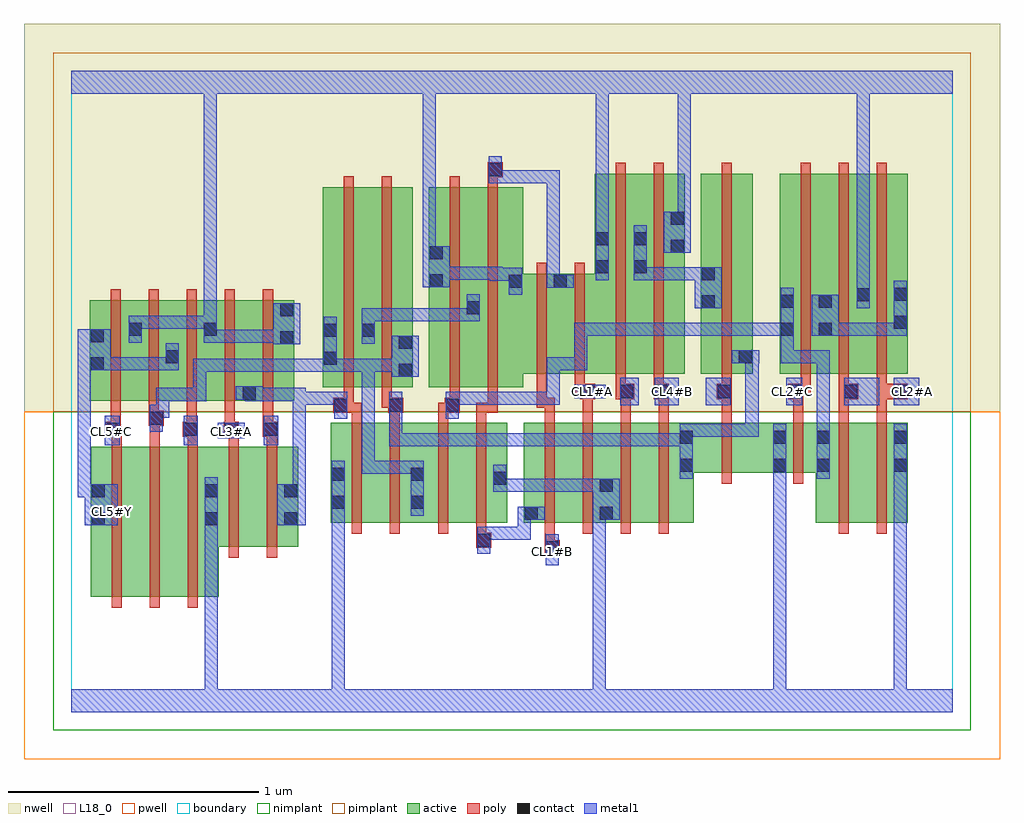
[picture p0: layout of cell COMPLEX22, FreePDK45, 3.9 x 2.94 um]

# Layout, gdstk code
import gdstk
lib = gdstk.Library(unit=1e-6, precision=1e-09)
def R(c, l, rs):  # rectangles x0, y0, x1, y1
    for r in rs: c.add(gdstk.rectangle(r[:2], r[2:], *l))
def A(c, l, x, y, w, h, nx, ny, dx, dy):  # array of equal rectangles
    R(c, l, [(x+i*dx, y+j*dy, x+i*dx+w, y+j*dy+h) for i in range(nx) for j in range(ny)])
active = (1, 0)
pwell = (2, 0)
nwell = (3, 0)
nimplant = (4, 0)
pimplant = (5, 0)
poly = (9, 0)
contact = (10, 0)
metal1 = (11, 0)
L18_0 = (18, 0)
boundary = (235, 0)

complex22 = lib.new_cell('COMPLEX22')
A(complex22, active, 2.828, 1.35, 0.06, 0.694, 3, 1, 0.152, 0)
R(complex22, active, [(0.078,0.46,0.258,1.06), (0.258,0.46,0.41,1.06), (0.41,0.46,0.59,1.06), (0.078,0.556,0.138,1.06), (0.53,0.66,0.726,1.06), (0.726,0.66,0.906,1.06), (0.53,0.742,0.59,1.06), (0.846,0.742,0.906,1.06), (1.036,0.756,1.096,1.156), (1.036,0.756,1.216,1.156), (1.216,0.756,1.412,1.156), (1.352,0.756,1.412,1.156), (1.352,0.756,1.562,1.156), (1.562,0.756,1.742,1.156), (1.682,0.756,1.742,1.156), (1.806,0.756,1.866,1.156), (1.806,0.756,1.986,1.156), (1.986,0.756,2.166,1.156), (2.106,0.756,2.166,1.156), (2.106,0.756,2.29,1.156), (2.29,0.756,2.486,1.156), (2.972,0.756,3.16,1.156), (3.16,0.756,3.34,1.156), (3.28,0.756,3.34,1.156), (2.426,0.956,2.486,1.128), (2.426,0.956,2.858,1.156), (2.798,0.956,3.032,1.156), (2.798,0.956,2.858,1.128), (2.972,0.956,3.032,1.156), (0.074,1.244,0.134,1.644), (0.074,1.244,0.286,1.644), (0.226,1.244,0.286,1.644), (0.226,1.244,0.434,1.644), (0.374,1.244,0.434,1.644), (0.374,1.244,0.586,1.644), (0.526,1.244,0.586,1.644), (0.526,1.244,0.742,1.644), (0.682,1.244,0.742,1.644), (0.682,1.244,0.89,1.644), (0.83,1.244,0.89,1.644), (1.004,1.296,1.216,2.096), (1.004,1.296,1.064,2.044), (1.156,1.296,1.364,2.096), (1.304,1.296,1.364,2.044), (1.428,1.296,1.636,2.096), (1.576,1.296,1.804,2.096), (1.744,1.35,1.804,1.75), (1.744,1.35,1.982,1.75), (1.922,1.35,1.982,1.75), (1.922,1.35,2.15,1.75), (2.09,1.35,2.302,2.15), (2.242,1.35,2.45,2.15), (2.39,1.35,2.45,2.044), (2.514,1.35,2.574,2.044), (2.514,1.35,2.722,2.15), (2.662,1.35,2.722,2.044), (2.828,1.35,3.04,2.15), (2.98,1.35,3.192,2.15), (3.132,1.35,3.34,2.15), (3.28,1.35,3.34,2.044), (1.428,1.452,1.488,2.044), (1.156,1.494,1.216,2.044), (1.576,1.584,1.636,2.044), (2.242,1.686,2.302,2.044), (2.09,1.748,2.15,1.92)])
R(complex22, pwell, [(-0.188,-0.188,3.708,1.2)])
R(complex22, nwell, [(-0.188,1.2,3.708,2.748)])
R(complex22, nimplant, [(-0.072,-0.072,3.592,1.2)])
R(complex22, pimplant, [(-0.072,1.2,3.592,2.632)])
A(complex22, poly, 0.162, 0.416, 0.04, 0.688, 3, 1, 0.152, 0)
A(complex22, poly, 1.89, 0.712, 0.04, 0.488, 4, 1, 0.152, 0)
A(complex22, poly, 0.462, 1.12, 0.04, 0.12, 3, 1, 0.152, 0)
A(complex22, poly, 2.042, 1.16, 0.04, 0.13, 3, 1, 0.152, 0)
A(complex22, poly, 0.158, 1.2, 0.04, 0.488, 5, 1, 0.152, 0)
A(complex22, poly, 2.912, 1.27, 0.04, 0.076, 3, 1, 0.152, 0)
A(complex22, poly, 2.912, 1.306, 0.04, 0.888, 3, 1, 0.152, 0)
R(complex22, poly, [(0.63,0.616,0.67,1.104), (0.782,0.616,0.822,1.104), (1.89,0.626,1.95,0.686), (1.89,0.646,1.93,0.752), (1.618,0.656,1.678,0.716), (1.618,0.676,1.658,0.752), (1.12,0.712,1.16,1.2), (1.272,0.712,1.312,1.2), (1.466,0.712,1.506,1.2), (1.618,0.712,1.658,1.2), (3.064,0.712,3.104,1.2), (3.216,0.712,3.256,1.2), (2.598,0.912,2.638,1.2), (2.882,0.912,2.922,1.2), (0.162,1.064,0.202,1.14), (0.314,1.064,0.354,1.184), (0.466,1.064,0.506,1.14), (0.63,1.064,0.67,1.14), (0.782,1.064,0.822,1.14), (0.138,1.1,0.198,1.16), (0.158,1.1,0.198,1.14), (0.158,1.1,0.202,1.14), (0.446,1.1,0.506,1.16), (0.61,1.1,0.67,1.16), (0.766,1.1,0.826,1.16), (0.158,1.12,0.198,1.24), (0.462,1.12,0.502,1.16), (0.462,1.12,0.502,1.16), (0.614,1.12,0.654,1.16), (0.614,1.12,0.654,1.16), (0.766,1.12,0.806,1.16), (0.766,1.12,0.806,1.16), (0.31,1.144,0.37,1.204), (0.314,1.144,0.354,1.184), (0.314,1.144,0.354,1.184), (1.12,1.16,1.16,1.236), (1.272,1.16,1.312,1.236), (1.466,1.16,1.506,1.236), (1.618,1.16,1.658,1.236), (1.89,1.16,1.93,1.256), (2.598,1.16,2.638,1.29), (2.882,1.16,2.922,1.29), (3.064,1.16,3.104,1.29), (3.216,1.16,3.256,1.29), (0.31,1.164,0.35,1.24), (1.046,1.196,1.128,1.256), (1.088,1.196,1.128,1.236), (1.088,1.196,1.16,1.236), (1.266,1.196,1.326,1.256), (1.466,1.196,1.532,1.236), (1.492,1.196,1.532,1.236), (1.492,1.196,1.552,1.256), (1.618,1.196,1.704,1.236), (1.664,1.196,1.704,1.236), (1.664,1.196,1.704,1.236), (1.664,1.196,1.704,1.292), (1.088,1.216,1.128,1.292), (1.24,1.216,1.28,1.292), (1.24,1.216,1.306,1.256), (1.266,1.216,1.306,1.256), (1.512,1.216,1.552,1.292), (1.858,1.216,1.898,1.346), (1.858,1.216,1.93,1.256), (1.89,1.216,1.93,1.256), (1.89,1.216,1.93,1.256), (2.032,1.25,2.092,1.31), (2.174,1.25,2.248,1.31), (2.194,1.25,2.234,1.29), (2.194,1.25,2.234,1.29), (2.326,1.25,2.386,1.31), (2.346,1.25,2.386,1.29), (2.346,1.25,2.386,1.29), (2.578,1.25,2.638,1.31), (2.598,1.25,2.638,1.29), (2.598,1.25,2.638,1.29), (2.862,1.25,2.922,1.31), (3.064,1.25,3.142,1.31), (3.216,1.25,3.34,1.31), (1.088,1.252,1.128,2.14), (1.24,1.252,1.28,2.14), (1.512,1.252,1.552,2.14), (1.664,1.252,1.704,2.14), (2.01,1.27,2.05,1.346), (2.01,1.27,2.072,1.31), (2.032,1.27,2.072,1.31), (2.174,1.27,2.214,1.346), (2.326,1.27,2.366,1.346), (2.598,1.27,2.638,1.346), (2.882,1.27,2.922,1.31), (2.882,1.27,2.952,1.31), (3.064,1.27,3.104,1.31), (3.064,1.27,3.104,1.31), (3.216,1.27,3.256,1.31), (3.216,1.27,3.256,1.31), (1.858,1.306,1.898,1.794), (2.01,1.306,2.05,1.794), (2.174,1.306,2.214,2.194), (2.326,1.306,2.366,2.194), (2.598,1.306,2.638,2.194), (1.664,2.1,1.704,2.176), (1.664,2.136,1.724,2.196)])
R(complex22, contact, [(1.894,0.63,1.946,0.682), (1.622,0.66,1.674,0.712), (0.082,0.746,0.134,0.798), (0.534,0.746,0.586,0.798), (0.85,0.746,0.902,0.798), (1.81,0.768,1.862,0.82), (2.11,0.768,2.162,0.82), (1.04,0.812,1.092,0.864), (1.356,0.812,1.408,0.864), (0.082,0.858,0.134,0.91), (0.534,0.858,0.586,0.91), (0.85,0.858,0.902,0.91), (2.11,0.88,2.162,0.932), (1.686,0.908,1.738,0.96), (1.04,0.924,1.092,0.976), (1.356,0.924,1.408,0.976), (2.43,0.96,2.482,1.012), (2.802,0.96,2.854,1.012), (2.976,0.96,3.028,1.012), (3.284,0.96,3.336,1.012), (2.43,1.072,2.482,1.124), (2.802,1.072,2.854,1.124), (2.976,1.072,3.028,1.124), (3.284,1.072,3.336,1.124), (0.142,1.104,0.194,1.156), (0.45,1.104,0.502,1.156), (0.614,1.104,0.666,1.156), (0.77,1.104,0.822,1.156), (0.314,1.148,0.366,1.2), (1.05,1.2,1.102,1.252), (1.27,1.2,1.322,1.252), (1.496,1.2,1.548,1.252), (0.686,1.248,0.738,1.3), (2.036,1.254,2.088,1.306), (2.192,1.254,2.244,1.306), (2.33,1.254,2.382,1.306), (2.582,1.254,2.634,1.306), (2.866,1.254,2.918,1.306), (3.086,1.254,3.138,1.306), (3.284,1.254,3.336,1.306), (1.308,1.338,1.36,1.39), (0.078,1.364,0.13,1.416), (1.008,1.386,1.06,1.438), (0.378,1.392,0.43,1.444), (2.666,1.392,2.718,1.444), (1.308,1.45,1.36,1.502), (0.834,1.468,0.886,1.52), (0.078,1.476,0.13,1.528), (1.008,1.498,1.06,1.55), (1.16,1.498,1.212,1.55), (0.23,1.502,0.282,1.554), (0.53,1.502,0.582,1.554), (2.832,1.502,2.884,1.554), (2.984,1.502,3.036,1.554), (3.284,1.53,3.336,1.582), (0.834,1.58,0.886,1.632), (1.58,1.588,1.632,1.64), (2.518,1.612,2.57,1.664), (2.832,1.614,2.884,1.666), (2.984,1.614,3.036,1.666), (3.136,1.64,3.188,1.692), (3.284,1.642,3.336,1.694), (1.748,1.694,1.8,1.746), (1.926,1.694,1.978,1.746), (1.432,1.696,1.484,1.748), (2.518,1.724,2.57,1.776), (2.094,1.752,2.146,1.804), (2.246,1.752,2.298,1.804), (1.432,1.808,1.484,1.86), (2.394,1.834,2.446,1.886), (2.094,1.864,2.146,1.916), (2.246,1.864,2.298,1.916), (2.394,1.946,2.446,1.998), (1.668,2.14,1.72,2.192)])
R(complex22, metal1, [(0,0,3.52,0.092), (0.534,0.04,0.586,0.092), (0.534,0.04,0.586,0.092), (0.534,0.04,0.586,0.092), (0.534,0.04,0.586,0.092), (0.534,0.04,0.586,0.092), (0.534,0.04,0.586,0.092), (0.534,0.04,0.586,0.092), (0.534,0.04,0.586,0.092), (0.534,0.04,0.586,0.77), (1.04,0.04,1.092,0.092), (1.04,0.04,1.092,0.092), (1.04,0.04,1.092,0.836), (2.082,0.04,2.134,0.092), (2.082,0.04,2.134,0.092), (2.082,0.04,2.134,0.092), (2.082,0.04,2.134,0.092), (2.082,0.04,2.134,0.82), (2.802,0.04,2.854,0.092), (2.802,0.04,2.854,0.092), (2.802,0.04,2.854,0.092), (2.802,0.04,2.854,0.092), (2.802,0.04,2.854,0.984), (3.284,0.04,3.336,0.984), (1.894,0.586,1.946,0.71), (1.622,0.632,1.674,0.74), (1.622,0.688,1.834,0.74), (1.782,0.688,1.834,0.74), (1.782,0.688,1.834,0.74), (1.782,0.688,1.834,0.74), (1.782,0.688,1.834,0.82), (0.534,0.718,0.586,0.938), (0.054,0.746,0.186,0.91), (0.822,0.746,0.936,0.91), (1.782,0.768,1.89,0.82), (2.082,0.768,2.134,0.82), (2.082,0.768,2.134,0.82), (2.082,0.768,2.134,0.82), (2.082,0.768,2.134,0.82), (2.082,0.768,2.134,0.82), (2.082,0.768,2.134,0.82), (2.082,0.768,2.134,0.82), (2.082,0.768,2.134,0.82), (2.082,0.768,2.19,0.932), (1.04,0.784,1.092,0.836), (1.04,0.784,1.092,0.836), (1.04,0.784,1.092,0.836), (1.04,0.784,1.092,0.836), (1.04,0.784,1.092,0.836), (1.04,0.784,1.092,0.836), (1.04,0.784,1.092,0.836), (1.04,0.784,1.092,0.836), (1.04,0.784,1.092,0.836), (1.04,0.784,1.092,0.836), (1.04,0.784,1.092,1.004), (1.356,0.784,1.408,1.004), (0.026,0.858,0.078,0.91), (0.026,0.858,0.078,0.91), (0.026,0.858,0.078,0.91), (0.026,0.858,0.078,0.91), (0.026,0.858,0.078,0.91), (0.026,0.858,0.078,0.91), (0.026,0.858,0.078,0.91), (0.026,0.858,0.078,0.91), (0.026,0.858,0.078,1.416), (0.026,0.858,0.106,0.91), (0.054,0.858,0.106,0.91), (0.884,0.858,0.936,1.038), (1.686,0.88,1.738,0.988), (1.686,0.88,1.836,0.932), (1.784,0.88,1.836,0.932), (1.784,0.88,1.95,0.932), (1.898,0.88,1.95,0.932), (1.898,0.88,1.95,0.932), (1.898,0.88,1.95,0.932), (1.898,0.88,2.134,0.932), (2.082,0.88,2.134,0.932), (2.082,0.88,2.134,0.932), (2.082,0.88,2.134,0.932), (2.082,0.88,2.134,0.932), (2.43,0.932,2.482,1.152), (2.802,0.932,2.854,0.984), (2.802,0.932,2.854,0.984), (2.802,0.932,2.854,0.984), (2.802,0.932,2.854,0.984), (2.802,0.932,2.854,0.984), (2.802,0.932,2.854,0.984), (2.802,0.932,2.854,0.984), (2.802,0.932,2.854,0.984), (2.802,0.932,2.854,0.984), (2.802,0.932,2.854,0.984), (2.802,0.932,2.854,0.984), (2.802,0.932,2.854,0.984), (2.802,0.932,2.854,1.152), (2.976,0.932,3.028,1.152), (3.284,0.932,3.336,0.984), (3.284,0.932,3.336,0.984), (3.284,0.932,3.336,0.984), (3.284,0.932,3.336,0.984), (3.284,0.932,3.336,0.984), (3.284,0.932,3.336,0.984), (3.284,0.932,3.336,0.984), (3.284,0.932,3.336,0.984), (3.284,0.932,3.336,0.984), (3.284,0.932,3.336,0.984), (3.284,0.932,3.336,0.984), (3.284,0.932,3.336,0.984), (3.284,0.932,3.336,1.152), (1.16,0.952,1.212,1.004), (1.16,0.952,1.212,1.004), (1.16,0.952,1.212,1.004), (1.16,0.952,1.212,1.004), (1.16,0.952,1.212,1.004), (1.16,0.952,1.212,1.004), (1.16,0.952,1.212,1.004), (1.16,0.952,1.408,1.004), (1.16,0.952,1.212,1.41), (0.884,0.986,0.936,1.038), (0.884,0.986,0.936,1.28), (1.27,1.062,1.518,1.114), (1.27,1.062,1.322,1.224), (1.466,1.062,1.518,1.114), (1.466,1.062,1.518,1.114), (1.466,1.062,1.518,1.114), (1.466,1.062,1.518,1.114), (1.466,1.062,1.518,1.114), (1.466,1.062,1.628,1.114), (1.576,1.062,1.628,1.114), (1.576,1.062,1.708,1.114), (1.656,1.062,1.708,1.114), (1.656,1.062,1.834,1.114), (1.782,1.062,1.834,1.114), (1.782,1.062,1.834,1.114), (1.782,1.062,1.834,1.114), (1.782,1.062,1.946,1.114), (1.894,1.062,1.946,1.114), (1.894,1.062,1.946,1.114), (1.894,1.062,1.946,1.114), (1.894,1.062,2.06,1.114), (2.008,1.062,2.06,1.114), (2.008,1.062,2.134,1.114), (2.082,1.062,2.134,1.114), (2.082,1.062,2.256,1.114), (2.204,1.062,2.256,1.114), (2.204,1.062,2.256,1.114), (2.204,1.062,2.256,1.114), (2.204,1.062,2.366,1.114), (2.314,1.062,2.366,1.114), (2.314,1.062,2.482,1.114), (0.134,1.066,0.194,1.184), (0.45,1.066,0.506,1.184), (0.77,1.066,0.826,1.184), (0.586,1.094,0.694,1.156), (2.43,1.1,2.494,1.152), (2.442,1.1,2.494,1.152), (2.442,1.1,2.744,1.152), (2.692,1.1,2.744,1.152), (2.692,1.1,2.744,1.152), (2.692,1.1,2.744,1.152), (2.692,1.1,2.744,1.152), (2.692,1.1,2.744,1.152), (2.692,1.1,2.744,1.152), (2.692,1.1,2.744,1.152), (2.692,1.1,2.744,1.444), (2.976,1.1,3.028,1.444), (0.314,1.12,0.366,1.228), (1.05,1.172,1.102,1.28), (1.27,1.172,1.322,1.224), (1.27,1.172,1.322,1.28), (1.496,1.172,1.548,1.28), (0.314,1.176,0.392,1.228), (0.34,1.176,0.392,1.294), (2.192,1.226,2.266,1.334), (2.33,1.226,2.426,1.334), (2.534,1.226,2.634,1.334), (2.854,1.226,2.918,1.334), (3.086,1.226,3.226,1.334), (3.284,1.226,3.386,1.334), (0.884,1.228,1.102,1.28), (0.884,1.228,0.936,1.294), (1.05,1.228,1.102,1.28), (1.05,1.228,1.102,1.28), (1.496,1.228,1.628,1.28), (1.576,1.228,1.628,1.28), (1.576,1.228,1.674,1.28), (1.622,1.228,1.674,1.28), (1.622,1.228,1.836,1.28), (1.784,1.228,1.836,1.28), (1.784,1.228,1.836,1.28), (1.784,1.228,1.836,1.28), (1.784,1.228,1.95,1.28), (1.898,1.228,1.95,1.416), (0.34,1.242,0.476,1.294), (0.424,1.242,0.476,1.294), (0.424,1.242,0.54,1.294), (0.488,1.242,0.54,1.294), (0.488,1.242,0.54,1.41), (0.696,1.242,0.936,1.294), (0.696,1.242,0.748,1.3), (0.884,1.242,0.936,1.294), (0.884,1.242,0.936,1.294), (0.658,1.248,0.766,1.3), (0.696,1.248,0.748,1.3), (2.008,1.254,2.134,1.306), (1.28,1.338,1.388,1.502), (0.488,1.358,0.54,1.41), (0.488,1.358,0.54,1.41), (0.488,1.358,0.54,1.41), (0.488,1.358,0.6,1.41), (0.548,1.358,0.6,1.41), (0.548,1.358,0.748,1.41), (0.696,1.358,0.748,1.41), (0.696,1.358,0.95,1.41), (0.898,1.358,0.95,1.41), (0.898,1.358,0.95,1.41), (0.898,1.358,0.95,1.41), (0.898,1.358,1.06,1.41), (1.008,1.358,1.06,1.41), (1.008,1.358,1.06,1.41), (1.008,1.358,1.06,1.578), (1.008,1.358,1.212,1.41), (1.16,1.358,1.212,1.41), (1.16,1.358,1.212,1.41), (1.16,1.358,1.212,1.41), (1.16,1.358,1.332,1.41), (1.28,1.358,1.332,1.41), (1.28,1.358,1.332,1.41), (0.026,1.364,0.078,1.416), (0.026,1.364,0.078,1.416), (0.026,1.364,0.158,1.528), (0.106,1.364,0.158,1.416), (0.106,1.364,0.158,1.416), (0.106,1.364,0.268,1.416), (0.216,1.364,0.268,1.416), (0.216,1.364,0.268,1.416), (0.216,1.364,0.268,1.416), (0.216,1.364,0.43,1.416), (0.378,1.364,0.43,1.472), (1.898,1.364,1.95,1.416), (1.898,1.364,1.95,1.416), (1.898,1.364,2.06,1.416), (2.008,1.364,2.06,1.416), (2.008,1.364,2.06,1.416), (2.008,1.364,2.06,1.416), (2.008,1.364,2.06,1.554), (2.638,1.392,2.746,1.444), (2.832,1.392,2.884,1.444), (2.832,1.392,3.028,1.444), (2.832,1.392,2.884,1.526), (2.976,1.392,3.028,1.444), (2.976,1.392,3.028,1.444), (2.976,1.392,3.028,1.444), (2.976,1.392,3.028,1.444), (2.976,1.392,3.028,1.444), (0.806,1.468,0.914,1.632), (1.16,1.47,1.212,1.578), (0.23,1.474,0.282,1.582), (0.53,1.474,0.582,1.582), (0.53,1.474,0.712,1.526), (0.66,1.474,0.712,1.526), (0.66,1.474,0.712,1.526), (0.66,1.474,0.712,1.526), (0.66,1.474,0.858,1.526), (0.806,1.474,0.858,1.526), (0.806,1.474,0.858,1.526), (2.832,1.474,2.884,1.526), (2.832,1.474,2.884,1.526), (2.832,1.474,2.884,1.694), (2.008,1.502,2.06,1.554), (2.008,1.502,2.244,1.554), (2.192,1.502,2.244,1.554), (2.192,1.502,2.244,1.554), (2.192,1.502,2.244,1.554), (2.192,1.502,2.366,1.554), (2.314,1.502,2.366,1.554), (2.314,1.502,2.476,1.554), (2.424,1.502,2.476,1.554), (2.424,1.502,2.476,1.554), (2.424,1.502,2.476,1.554), (2.424,1.502,2.476,1.554), (2.424,1.502,2.476,1.554), (2.424,1.502,2.604,1.554), (2.552,1.502,2.604,1.554), (2.552,1.502,2.604,1.554), (2.552,1.502,2.604,1.554), (2.552,1.502,2.884,1.554), (2.956,1.502,3.064,1.666), (3.012,1.502,3.174,1.554), (3.122,1.502,3.174,1.554), (3.122,1.502,3.174,1.554), (3.122,1.502,3.174,1.554), (3.122,1.502,3.336,1.554), (3.284,1.502,3.336,1.554), (3.284,1.502,3.336,1.554), (3.284,1.502,3.336,1.722), (1.16,1.526,1.212,1.578), (1.16,1.526,1.212,1.612), (0.23,1.53,0.282,1.582), (0.23,1.53,0.282,1.582), (0.23,1.53,0.43,1.582), (0.378,1.53,0.43,1.582), (0.378,1.53,0.476,1.582), (0.424,1.53,0.476,1.582), (0.424,1.53,0.582,1.582), (0.53,1.53,0.582,1.582), (0.53,1.53,0.582,1.582), (0.53,1.53,0.582,1.582), (0.53,1.53,0.582,1.582), (0.53,1.53,0.582,2.52), (1.16,1.56,1.408,1.612), (1.356,1.56,1.408,1.612), (1.356,1.56,1.468,1.612), (1.416,1.56,1.468,1.612), (1.416,1.56,1.518,1.612), (1.466,1.56,1.518,1.612), (1.466,1.56,1.632,1.612), (1.58,1.56,1.632,1.668), (2.49,1.612,2.598,1.776), (3.136,1.612,3.188,1.72), (1.748,1.666,1.8,1.774), (3.136,1.668,3.188,1.72), (3.136,1.668,3.188,1.72), (3.136,1.668,3.188,1.72), (3.136,1.668,3.188,1.72), (3.136,1.668,3.188,2.52), (1.898,1.694,1.95,1.746), (1.898,1.694,1.95,1.746), (1.898,1.694,2.006,1.746), (1.898,1.694,1.95,2.164), (1.404,1.696,1.512,1.86), (1.672,1.722,1.8,1.774), (1.672,1.722,1.724,1.778), (2.094,1.724,2.146,1.944), (2.246,1.724,2.298,1.944), (2.246,1.724,2.366,1.776), (2.314,1.724,2.366,1.776), (2.314,1.724,2.476,1.776), (2.424,1.724,2.476,1.776), (2.424,1.724,2.542,1.776), (1.46,1.726,1.564,1.778), (1.512,1.726,1.564,1.778), (1.512,1.726,1.628,1.778), (1.576,1.726,1.628,1.778), (1.576,1.726,1.724,1.778), (1.404,1.808,1.456,1.86), (1.404,1.808,1.456,1.86), (1.404,1.808,1.456,1.86), (1.404,1.808,1.456,1.86), (1.404,1.808,1.456,1.86), (1.404,1.808,1.456,1.86), (1.404,1.808,1.456,1.86), (1.404,1.808,1.456,1.86), (1.404,1.808,1.456,2.52), (2.366,1.834,2.474,1.998), (2.094,1.892,2.146,1.944), (2.094,1.892,2.146,1.944), (2.094,1.892,2.146,1.944), (2.094,1.892,2.146,1.944), (2.094,1.892,2.146,1.944), (2.094,1.892,2.146,1.944), (2.094,1.892,2.146,2.52), (2.422,1.946,2.474,1.998), (2.422,1.946,2.474,1.998), (2.422,1.946,2.474,1.998), (2.422,1.946,2.474,1.998), (2.422,1.946,2.474,2.52), (1.668,2.112,1.72,2.22), (1.668,2.112,1.834,2.164), (1.782,2.112,1.834,2.164), (1.782,2.112,1.834,2.164), (1.782,2.112,1.834,2.164), (1.782,2.112,1.95,2.164), (1.898,2.112,1.95,2.164), (1.898,2.112,1.95,2.164), (1.898,2.112,1.95,2.164), (1.898,2.112,1.95,2.164), (1.898,2.112,1.95,2.164), (1.898,2.112,1.95,2.164), (1.898,2.112,1.95,2.164), (1.898,2.112,1.95,2.164), (1.898,2.112,1.95,2.164), (0,2.468,3.52,2.56), (0.53,2.468,0.582,2.52), (0.53,2.468,0.582,2.52), (0.53,2.468,0.582,2.52), (0.53,2.468,0.582,2.52), (0.53,2.468,0.582,2.52), (0.53,2.468,0.582,2.52), (0.53,2.468,0.582,2.52), (0.53,2.468,0.582,2.52), (0.53,2.468,0.582,2.52), (0.53,2.468,0.582,2.52), (0.53,2.468,0.582,2.52), (0.53,2.468,0.582,2.52), (2.094,2.468,2.146,2.52), (2.094,2.468,2.146,2.52), (2.422,2.468,2.474,2.52), (2.422,2.468,2.474,2.52), (2.422,2.468,2.474,2.52), (2.422,2.468,2.474,2.52), (3.136,2.468,3.188,2.52), (3.136,2.468,3.188,2.52), (3.136,2.468,3.188,2.52), (3.136,2.468,3.188,2.52)])
A(complex22, L18_0, 0.454, 1.094, 0.052, 0.052, 3, 1, 0.16, 0)
A(complex22, L18_0, 2.054, 1.254, 0.052, 0.052, 4, 1, 0.16, 0)
R(complex22, L18_0, [(0,0,3.52,0.092), (0.534,0.04,0.586,0.092), (0.534,0.04,0.586,0.092), (0.534,0.04,0.586,0.092), (0.534,0.04,0.586,0.092), (0.534,0.04,0.586,0.092), (0.534,0.04,0.586,0.092), (0.534,0.04,0.586,0.092), (0.534,0.04,0.586,0.092), (0.534,0.04,0.586,0.77), (1.04,0.04,1.092,0.092), (1.04,0.04,1.092,0.092), (1.04,0.04,1.092,0.836), (2.082,0.04,2.134,0.092), (2.082,0.04,2.134,0.092), (2.082,0.04,2.134,0.092), (2.082,0.04,2.134,0.092), (2.082,0.04,2.134,0.82), (2.802,0.04,2.854,0.092), (2.802,0.04,2.854,0.092), (2.802,0.04,2.854,0.092), (2.802,0.04,2.854,0.092), (2.802,0.04,2.854,0.984), (3.284,0.04,3.336,0.984), (1.894,0.586,1.946,0.71), (1.894,0.614,1.946,0.666), (0.534,0.718,0.586,0.938), (0.054,0.746,0.186,0.91), (2.082,0.768,2.134,0.82), (2.082,0.768,2.134,0.82), (2.082,0.768,2.134,0.82), (2.082,0.768,2.134,0.82), (2.082,0.768,2.134,0.82), (2.082,0.768,2.134,0.82), (2.082,0.768,2.134,0.82), (2.082,0.768,2.134,0.82), (2.082,0.768,2.19,0.932), (0.134,0.774,0.186,0.826), (1.04,0.784,1.092,0.836), (1.04,0.784,1.092,0.836), (1.04,0.784,1.092,0.836), (1.04,0.784,1.092,0.836), (1.04,0.784,1.092,0.836), (1.04,0.784,1.092,0.836), (1.04,0.784,1.092,0.836), (1.04,0.784,1.092,0.836), (1.04,0.784,1.092,0.836), (1.04,0.784,1.092,0.836), (1.04,0.784,1.092,1.004), (0.026,0.858,0.106,0.91), (0.026,0.858,0.078,0.91), (0.026,0.858,0.078,0.91), (0.026,0.858,0.078,0.91), (0.026,0.858,0.078,0.91), (0.026,0.858,0.078,0.91), (0.026,0.858,0.078,0.91), (0.026,0.858,0.078,0.91), (0.026,0.858,0.078,0.91), (0.026,0.858,0.078,1.416), (0.054,0.858,0.106,0.91), (1.686,0.88,1.738,0.988), (1.686,0.88,1.836,0.932), (1.784,0.88,1.836,0.932), (1.784,0.88,1.95,0.932), (1.898,0.88,1.95,0.932), (1.898,0.88,1.95,0.932), (1.898,0.88,1.95,0.932), (1.898,0.88,2.134,0.932), (2.082,0.88,2.134,0.932), (2.082,0.88,2.134,0.932), (2.082,0.88,2.134,0.932), (2.082,0.88,2.134,0.932), (2.802,0.932,2.854,0.984), (2.802,0.932,2.854,0.984), (2.802,0.932,2.854,0.984), (2.802,0.932,2.854,0.984), (2.802,0.932,2.854,0.984), (2.802,0.932,2.854,0.984), (2.802,0.932,2.854,0.984), (2.802,0.932,2.854,0.984), (2.802,0.932,2.854,0.984), (2.802,0.932,2.854,0.984), (2.802,0.932,2.854,0.984), (2.802,0.932,2.854,0.984), (2.802,0.932,2.854,1.152), (3.284,0.932,3.336,0.984), (3.284,0.932,3.336,0.984), (3.284,0.932,3.336,0.984), (3.284,0.932,3.336,0.984), (3.284,0.932,3.336,0.984), (3.284,0.932,3.336,0.984), (3.284,0.932,3.336,0.984), (3.284,0.932,3.336,0.984), (3.284,0.932,3.336,0.984), (3.284,0.932,3.336,0.984), (3.284,0.932,3.336,0.984), (3.284,0.932,3.336,0.984), (3.284,0.932,3.336,1.152), (0.134,1.066,0.194,1.184), (0.45,1.066,0.506,1.184), (0.77,1.066,0.826,1.184), (0.134,1.094,0.186,1.146), (0.586,1.094,0.694,1.156), (2.192,1.226,2.266,1.334), (2.33,1.226,2.426,1.334), (2.534,1.226,2.634,1.334), (2.854,1.226,2.918,1.334), (3.086,1.226,3.226,1.334), (3.284,1.226,3.386,1.334), (2.008,1.254,2.134,1.306), (2.854,1.254,2.906,1.306), (3.174,1.254,3.226,1.306), (3.334,1.254,3.386,1.306), (0.026,1.364,0.158,1.528), (0.026,1.364,0.078,1.416), (0.026,1.364,0.078,1.416), (0.106,1.364,0.158,1.416), (0.106,1.364,0.158,1.416), (0.106,1.364,0.268,1.416), (0.216,1.364,0.268,1.416), (0.216,1.364,0.268,1.416), (0.216,1.364,0.268,1.416), (0.216,1.364,0.43,1.416), (0.378,1.364,0.43,1.472), (0.806,1.468,0.914,1.632), (0.23,1.474,0.282,1.582), (0.53,1.474,0.582,1.582), (0.53,1.474,0.712,1.526), (0.66,1.474,0.712,1.526), (0.66,1.474,0.712,1.526), (0.66,1.474,0.712,1.526), (0.66,1.474,0.858,1.526), (0.806,1.474,0.858,1.526), (0.806,1.474,0.858,1.526), (0.23,1.53,0.282,1.582), (0.23,1.53,0.282,1.582), (0.23,1.53,0.43,1.582), (0.378,1.53,0.43,1.582), (0.378,1.53,0.476,1.582), (0.424,1.53,0.476,1.582), (0.424,1.53,0.582,1.582), (0.53,1.53,0.582,1.582), (0.53,1.53,0.582,1.582), (0.53,1.53,0.582,1.582), (0.53,1.53,0.582,1.582), (0.53,1.53,0.582,2.52), (3.136,1.612,3.188,1.72), (1.748,1.666,1.8,1.774), (3.136,1.668,3.188,1.72), (3.136,1.668,3.188,1.72), (3.136,1.668,3.188,1.72), (3.136,1.668,3.188,1.72), (3.136,1.668,3.188,2.52), (1.404,1.696,1.512,1.86), (1.672,1.722,1.724,1.778), (1.672,1.722,1.8,1.774), (2.094,1.724,2.146,1.944), (1.46,1.726,1.564,1.778), (1.512,1.726,1.564,1.778), (1.512,1.726,1.628,1.778), (1.576,1.726,1.628,1.778), (1.576,1.726,1.724,1.778), (1.404,1.808,1.456,1.86), (1.404,1.808,1.456,1.86), (1.404,1.808,1.456,1.86), (1.404,1.808,1.456,1.86), (1.404,1.808,1.456,1.86), (1.404,1.808,1.456,1.86), (1.404,1.808,1.456,1.86), (1.404,1.808,1.456,1.86), (1.404,1.808,1.456,2.52), (2.366,1.834,2.474,1.998), (2.094,1.892,2.146,1.944), (2.094,1.892,2.146,1.944), (2.094,1.892,2.146,1.944), (2.094,1.892,2.146,1.944), (2.094,1.892,2.146,1.944), (2.094,1.892,2.146,1.944), (2.094,1.892,2.146,2.52), (2.422,1.946,2.474,1.998), (2.422,1.946,2.474,1.998), (2.422,1.946,2.474,1.998), (2.422,1.946,2.474,1.998), (2.422,1.946,2.474,2.52), (0,2.468,3.52,2.56), (0.53,2.468,0.582,2.52), (0.53,2.468,0.582,2.52), (0.53,2.468,0.582,2.52), (0.53,2.468,0.582,2.52), (0.53,2.468,0.582,2.52), (0.53,2.468,0.582,2.52), (0.53,2.468,0.582,2.52), (0.53,2.468,0.582,2.52), (0.53,2.468,0.582,2.52), (0.53,2.468,0.582,2.52), (0.53,2.468,0.582,2.52), (0.53,2.468,0.582,2.52), (2.094,2.468,2.146,2.52), (2.094,2.468,2.146,2.52), (2.422,2.468,2.474,2.52), (2.422,2.468,2.474,2.52), (2.422,2.468,2.474,2.52), (2.422,2.468,2.474,2.52), (3.136,2.468,3.188,2.52), (3.136,2.468,3.188,2.52), (3.136,2.468,3.188,2.52), (3.136,2.468,3.188,2.52)])
R(complex22, boundary, [(0,0,3.52,2.56)])
complex22.add(gdstk.Label('CL1#A', (2.08,1.28), layer=11, texttype=0))
complex22.add(gdstk.Label('CL1#B', (1.92,0.64), layer=11, texttype=0))
complex22.add(gdstk.Label('CL2#A', (3.36,1.28), layer=11, texttype=0))
complex22.add(gdstk.Label('CL2#B', (3.2,1.28), layer=11, texttype=0))
complex22.add(gdstk.Label('CL2#C', (2.88,1.28), layer=11, texttype=0))
complex22.add(gdstk.Label('CL3#A', (0.64,1.12), layer=11, texttype=0))
complex22.add(gdstk.Label('CL3#B', (0.8,1.12), layer=11, texttype=0))
complex22.add(gdstk.Label('CL4#A', (2.24,1.28), layer=11, texttype=0))
complex22.add(gdstk.Label('CL4#B', (2.4,1.28), layer=11, texttype=0))
complex22.add(gdstk.Label('CL4#C', (2.56,1.28), layer=11, texttype=0))
complex22.add(gdstk.Label('CL5#A', (0.48,1.12), layer=11, texttype=0))
complex22.add(gdstk.Label('CL5#C', (0.16,1.12), layer=11, texttype=0))
complex22.add(gdstk.Label('CL5#Y', (0.16,0.8), layer=11, texttype=0))

lib.write_gds('COMPLEX22.gds')
